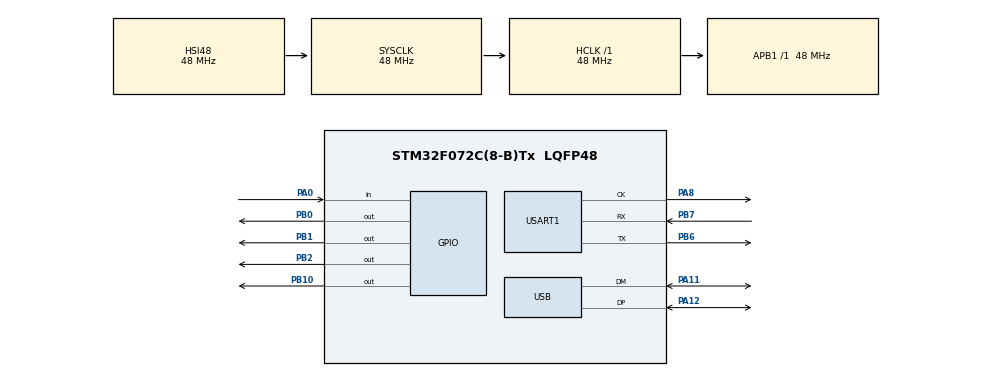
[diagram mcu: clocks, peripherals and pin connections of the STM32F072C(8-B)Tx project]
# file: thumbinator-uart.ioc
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Mcu.Family=STM32F0
Mcu.Name=STM32F072C(8-B)Tx
Mcu.Package=LQFP48
NVIC.USB_IRQn=true\:0\:0\:false\:false\:true
PA0.Signal=GPIO_Input
PA11.Mode=Device
PA11.Signal=USB_DM
PA12.Mode=Device
PA12.Signal=USB_DP
PA13.Mode=Serial_Wire
PA13.Signal=SYS_SWDIO
PA14.Mode=Serial_Wire
PA14.Signal=SYS_SWCLK
PA8.Mode=Synchronous
PA8.Signal=USART1_CK
PB0.Signal=GPIO_Output
PB1.Signal=GPIO_Output
PB10.Signal=GPIO_Output
PB2.Signal=GPIO_Output
PB6.Mode=Synchronous
PB6.Signal=USART1_TX
PB7.Mode=Synchronous
PB7.Signal=USART1_RX
PF0-OSC_IN.Mode=HSE-External-Oscillator
PF0-OSC_IN.Signal=RCC_OSC_IN
PF1-OSC_OUT.Mode=HSE-External-Oscillator
PF1-OSC_OUT.Signal=RCC_OSC_OUT
ProjectManager.HeapSize=0x200
ProjectManager.StackSize=0x400
ProjectManager.TargetToolchain=SW4STM32
RCC.AHBFreq_Value=48000000
RCC.APB1Freq_Value=48000000
RCC.APB1TimFreq_Value=48000000
RCC.HCLKFreq_Value=48000000
RCC.SYSCLKFreq_VALUE=48000000
RCC.SYSCLKSource=RCC_SYSCLKSOURCE_HSI48
USART1.VirtualMode-Synchronous=VM_SYNC
USB_DEVICE.CLASS_NAME_FS=CDC
USB_DEVICE.USBD_HandleTypeDef=hUsbDeviceFS
USB_DEVICE.VirtualMode=Cdc
USB_DEVICE.VirtualModeFS=Cdc_FS
VP_USB_DEVICE_VS_USB_DEVICE_CDC_FS.Mode=CDC_FS
board=thumbinator-uart

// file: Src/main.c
/**
  ******************************************************************************
  * File Name          : main.c
  * Description        : Main program body
  ******************************************************************************
  *
  * Copyright (c) 2016 STMicroelectronics International N.V.
  * All rights reserved.
  *
  * Redistribution and use in source and binary forms, with or without
  * modification, are permitted, provided that the following conditions are met:
  *
  * 1. Redistribution of source code must retain the above copyright notice,
  *    this list of conditions and the following disclaimer.
  * 2. Redistributions in binary form must reproduce the above copyright notice,
  *    this list of conditions and the following disclaimer in the documentation
  *    and/or other materials provided with the distribution.
  * 3. Neither the name of STMicroelectronics nor the names of other
  *    contributors to this software may be used to endorse or promote products
  *    derived from this software without specific written permission.
  * 4. This software, including modifications and/or derivative works of this
  *    software, must execute solely and exclusively on microcontroller or
  *    microprocessor devices manufactured by or for STMicroelectronics.
  * 5. Redistribution and use of this software other than as permitted under
  *    this license is void and will automatically terminate your rights under
  *    this license.
  *
  * THIS SOFTWARE IS PROVIDED BY STMICROELECTRONICS AND CONTRIBUTORS "AS IS"
  * AND ANY EXPRESS, IMPLIED OR STATUTORY WARRANTIES, INCLUDING, BUT NOT
  * LIMITED TO, THE IMPLIED WARRANTIES OF MERCHANTABILITY, FITNESS FOR A
  * PARTICULAR PURPOSE AND NON-INFRINGEMENT OF THIRD PARTY INTELLECTUAL PROPERTY
  * RIGHTS ARE DISCLAIMED TO THE FULLEST EXTENT PERMITTED BY LAW. IN NO EVENT
  * SHALL STMICROELECTRONICS OR CONTRIBUTORS BE LIABLE FOR ANY DIRECT, INDIRECT,
  * INCIDENTAL, SPECIAL, EXEMPLARY, OR CONSEQUENTIAL DAMAGES (INCLUDING, BUT NOT
  * LIMITED TO, PROCUREMENT OF SUBSTITUTE GOODS OR SERVICES; LOSS OF USE, DATA,
  * OR PROFITS; OR BUSINESS INTERRUPTION) HOWEVER CAUSED AND ON ANY THEORY OF
  * LIABILITY, WHETHER IN CONTRACT, STRICT LIABILITY, OR TORT (INCLUDING
  * NEGLIGENCE OR OTHERWISE) ARISING IN ANY WAY OUT OF THE USE OF THIS SOFTWARE,
  * EVEN IF ADVISED OF THE POSSIBILITY OF SUCH DAMAGE.
  *
  ******************************************************************************
  */
#include "main.h"
#include "stm32f0xx_hal.h"
#include "usb_device.h"

USART_HandleTypeDef husart1;

/* USER CODE BEGIN PV */
/* Private variables ---------------------------------------------------------*/

/* USER CODE END PV */

void SystemClock_Config(void);
void Error_Handler(void);
static void MX_GPIO_Init(void);
static void MX_USART1_Init(void);

/* USER CODE BEGIN PFP */
/* Private function prototypes -----------------------------------------------*/

/* USER CODE END PFP */

/* USER CODE BEGIN 0 */

static void next_led(void) {
  static int i = 0;
  i = (i + 1) % 16;
  HAL_GPIO_WritePin(GPIOB, GPIO_PIN_0|GPIO_PIN_1|GPIO_PIN_2|GPIO_PIN_10, GPIO_PIN_RESET);
  if (i & 1) HAL_GPIO_WritePin(GPIOB, GPIO_PIN_0, GPIO_PIN_SET);
  if (i & 2) HAL_GPIO_WritePin(GPIOB, GPIO_PIN_1, GPIO_PIN_SET);
  if (i & 4) HAL_GPIO_WritePin(GPIOB, GPIO_PIN_2, GPIO_PIN_SET);
  if (i & 8) HAL_GPIO_WritePin(GPIOB, GPIO_PIN_10, GPIO_PIN_SET);
}

/* USER CODE END 0 */

int main(void)
{

  /* MCU Configuration----------------------------------------------------------*/

  /* Reset of all peripherals, Initializes the Flash interface and the Systick. */
  HAL_Init();

  /* Configure the system clock */
  SystemClock_Config();

  /* Initialize all configured peripherals */
  MX_GPIO_Init();
  MX_USART1_Init();
  MX_USB_DEVICE_Init();

  /* Infinite loop */
  /* USER CODE BEGIN WHILE */
  #define BUFFER_SIZE 512
  char test[BUFFER_SIZE];
  {
    int i;
    for (i = 0; i < BUFFER_SIZE; i++) {
      test[i] = (i % 25) + 'A';
    }
  }
  int i = 0;
  while (1)
  {
  /* USER CODE END WHILE */

  /* USER CODE BEGIN 3 */
    sprintf(test, "\r\n%0x ", i++);
    CDC_Transmit_FS(test, BUFFER_SIZE);
    HAL_Delay(4);
    next_led();

  }
  /* USER CODE END 3 */

}

/** System Clock Configuration
*/
void SystemClock_Config(void)
{

  RCC_OscInitTypeDef RCC_OscInitStruct;
  RCC_ClkInitTypeDef RCC_ClkInitStruct;
  RCC_PeriphCLKInitTypeDef PeriphClkInit;

    /**Initializes the CPU, AHB and APB busses clocks
    */
  RCC_OscInitStruct.OscillatorType = RCC_OSCILLATORTYPE_HSI48;
  RCC_OscInitStruct.HSI48State = RCC_HSI48_ON;
  RCC_OscInitStruct.PLL.PLLState = RCC_PLL_NONE;
  if (HAL_RCC_OscConfig(&RCC_OscInitStruct) != HAL_OK)
  {
    Error_Handler();
  }

    /**Initializes the CPU, AHB and APB busses clocks
    */
  RCC_ClkInitStruct.ClockType = RCC_CLOCKTYPE_HCLK|RCC_CLOCKTYPE_SYSCLK
                              |RCC_CLOCKTYPE_PCLK1;
  RCC_ClkInitStruct.SYSCLKSource = RCC_SYSCLKSOURCE_HSI48;
  RCC_ClkInitStruct.AHBCLKDivider = RCC_SYSCLK_DIV1;
  RCC_ClkInitStruct.APB1CLKDivider = RCC_HCLK_DIV1;

  if (HAL_RCC_ClockConfig(&RCC_ClkInitStruct, FLASH_LATENCY_1) != HAL_OK)
  {
    Error_Handler();
  }

  PeriphClkInit.PeriphClockSelection = RCC_PERIPHCLK_USB|RCC_PERIPHCLK_USART1;
  PeriphClkInit.Usart1ClockSelection = RCC_USART1CLKSOURCE_PCLK1;
  PeriphClkInit.UsbClockSelection = RCC_USBCLKSOURCE_HSI48;

  if (HAL_RCCEx_PeriphCLKConfig(&PeriphClkInit) != HAL_OK)
  {
    Error_Handler();
  }

    /**Configure the Systick interrupt time
    */
  HAL_SYSTICK_Config(HAL_RCC_GetHCLKFreq()/1000);

    /**Configure the Systick
    */
  HAL_SYSTICK_CLKSourceConfig(SYSTICK_CLKSOURCE_HCLK);

  /* SysTick_IRQn interrupt configuration */
  HAL_NVIC_SetPriority(SysTick_IRQn, 0, 0);
}

/* USART1 init function */
static void MX_USART1_Init(void)
{

  husart1.Instance = USART1;
  husart1.Init.BaudRate = 38400;
  husart1.Init.WordLength = USART_WORDLENGTH_7B;
  husart1.Init.StopBits = USART_STOPBITS_1;
  husart1.Init.Parity = USART_PARITY_NONE;
  husart1.Init.Mode = USART_MODE_TX_RX;
  husart1.Init.CLKPolarity = USART_POLARITY_LOW;
  husart1.Init.CLKPhase = USART_PHASE_1EDGE;
  husart1.Init.CLKLastBit = USART_LASTBIT_DISABLE;
  if (HAL_USART_Init(&husart1) != HAL_OK)
  {
    Error_Handler();
  }

}

/** Configure pins as
        * Analog
        * Input
        * Output
        * EVENT_OUT
        * EXTI
*/
static void MX_GPIO_Init(void)
{

  GPIO_InitTypeDef GPIO_InitStruct;

  /* GPIO Ports Clock Enable */
  __HAL_RCC_GPIOF_CLK_ENABLE();
  __HAL_RCC_GPIOB_CLK_ENABLE();
  __HAL_RCC_GPIOA_CLK_ENABLE();

  /*Configure GPIO pin Output Level */
  HAL_GPIO_WritePin(GPIOB, GPIO_PIN_0|GPIO_PIN_1|GPIO_PIN_2|GPIO_PIN_10, GPIO_PIN_RESET);

  /*Configure GPIO pins : PB0 PB1 PB2 PB10 */
  GPIO_InitStruct.Pin = GPIO_PIN_0|GPIO_PIN_1|GPIO_PIN_2|GPIO_PIN_10;
  GPIO_InitStruct.Mode = GPIO_MODE_OUTPUT_PP;
  GPIO_InitStruct.Pull = GPIO_NOPULL;
  GPIO_InitStruct.Speed = GPIO_SPEED_FREQ_LOW;
  HAL_GPIO_Init(GPIOB, &GPIO_InitStruct);

}

void Error_Handler(void)
{
  while(1)
  {
  }
}

/************************ (C) COPYRIGHT STMicroelectronics *****END OF FILE****/
